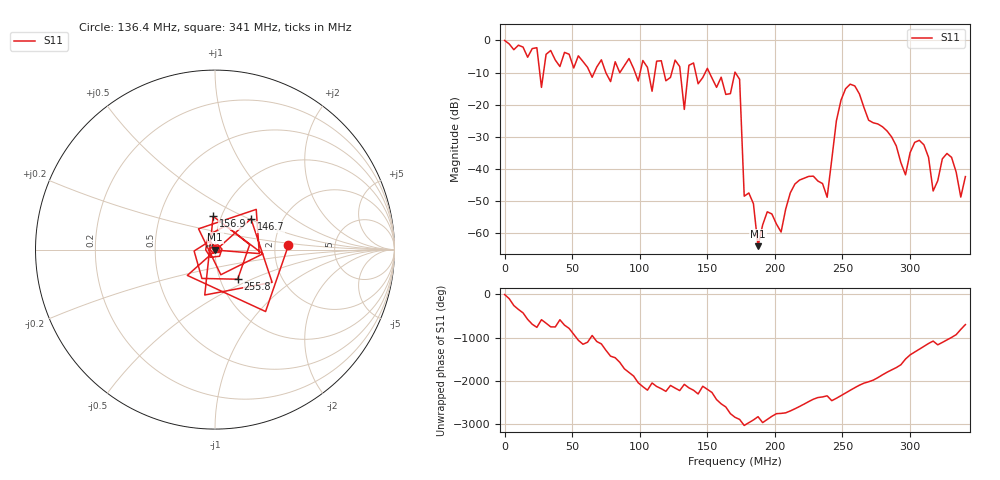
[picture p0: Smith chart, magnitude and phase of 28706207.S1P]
!File created by NanoVNA
# Hz S RI R 50
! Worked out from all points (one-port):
!   101 points, 50 kHz to 341 MHz, reference 50 ohm
!   lowest |S11| = -64.3 dB at 187.6 MHz (marker M1), VSWR 1.00, Z = 50 + j0.0521 ohm
!   |S11| at or under -10 dB: 74.93 MHz to 80.03 MHz (5.095 MHz wide, 6.58 % of centre); 151.5 MHz to 170.5 MHz (18.94 MHz wide, 11.8 % of centre); 170.7 MHz to end of sweep (the widest 3 of 11)
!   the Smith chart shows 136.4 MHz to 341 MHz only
!   S11 on the Smith chart (normalised r, x): 136.4 MHz: 2.38, +0.14; 146.7 MHz: 1.39, +0.51; 156.9 MHz: 0.92, +0.35; 255.8 MHz: 1.21, -0.42; 341 MHz: 1.01, +0.01
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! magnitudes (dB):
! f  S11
! 50 kHz  0.0
! 23.92 MHz  -2.2
! 27.33 MHz  -14.6
! 30.74 MHz  -4.3
! 44.37 MHz  -3.7
! 85.29 MHz  -10.1
! 129.6 MHz  -8.1
! 133 MHz  -21.5
! 136.4 MHz  -7.7
! 146.7 MHz  -11.6
! 156.9 MHz  -14.6
! 170.5 MHz  -9.9
! 173.9 MHz  -12.1
! 177.3 MHz  -48.7
! 184.2 MHz  -51.0
! 187.6 MHz  -64.3
! 204.6 MHz  -59.9
! 214.8 MHz  -44.9
! 238.7 MHz  -49.0
! 245.5 MHz  -25.1
! 255.8 MHz  -13.6
! 296.7 MHz  -42.0
! 300.1 MHz  -35.0
! 310.3 MHz  -32.6
! 317.1 MHz  -47.0
! 327.4 MHz  -35.3
! 337.6 MHz  -48.9
! 341 MHz  -42.5
